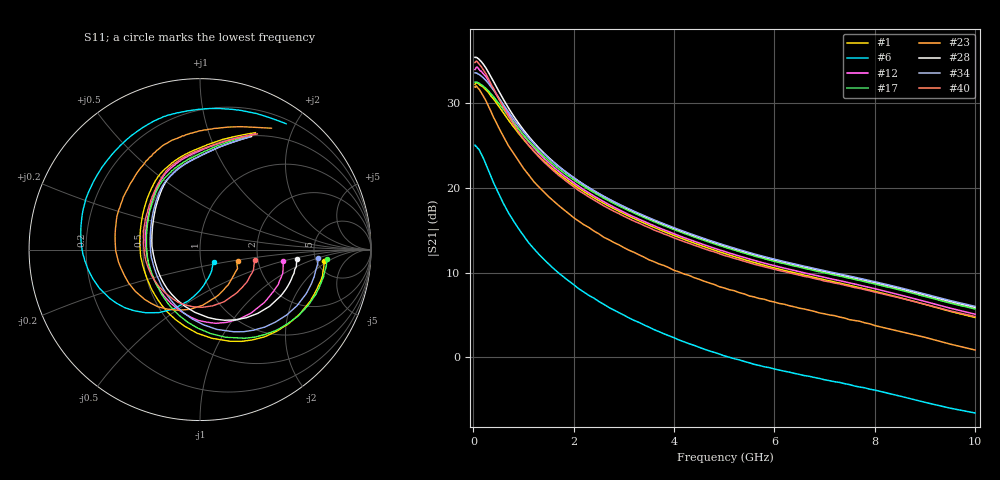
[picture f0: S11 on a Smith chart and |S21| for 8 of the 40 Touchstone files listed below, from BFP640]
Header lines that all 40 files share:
! Infineon Technologies  Discrete & RF Semiconductors
! BFP640
! Common Emitter S-Parameters:  Apr 2013
# GHz  S  MA  R  50
!  f  S11  S21  S12  S22
! GHz  MAG  ANG  MAG  ANG  MAG  ANG  MAG  ANG
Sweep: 30 MHz to 10 GHz
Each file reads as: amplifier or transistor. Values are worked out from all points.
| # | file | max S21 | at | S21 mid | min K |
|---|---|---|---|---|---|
| 1 | BFP640_VCE_1.0V_IC_18mA.s2p | 32.4 dB | 60 MHz | 15.6 dB at 3.5 GHz | 0.04 |
| 2 | BFP640_VCE_1.0V_IC_22mA.s2p | 33.1 dB | 70 MHz | 15.5 dB at 3.5 GHz | 0.05 |
| 3 | BFP640_VCE_1.0V_IC_28mA.s2p | 32.5 dB | 70 MHz | 14.8 dB at 3.5 GHz | 0.11 |
| 4 | BFP640_VCE_1.0V_IC_32mA.s2p | 31.4 dB | 70 MHz | 13.0 dB at 3.5 GHz | 0.45 |
| 5 | BFP640_VCE_1.0V_IC_37mA.s2p | 28.8 dB | 50 MHz | 8.0 dB at 3.5 GHz | 1.00 |
| 6 | BFP640_VCE_1.0V_IC_42mA.s2p | 25.1 dB | 30 MHz | 3.5 dB at 3.5 GHz | 1.51 |
| 7 | BFP640_VCE_1.0V_IC_48mA.s2p | 22.6 dB | 30 MHz | 0.9 dB at 3.5 GHz | 1.62 |
| 8 | BFP640_VCE_1.0V_IC_50mA.s2p | 22.3 dB | 30 MHz | 0.5 dB at 3.5 GHz | 1.62 |
| 9 | BFP640_VCE_1.5V_IC_18mA.s2p | 32.6 dB | 60 MHz | 16.1 dB at 3.5 GHz | -0.07 |
| 10 | BFP640_VCE_1.5V_IC_22mA.s2p | 33.7 dB | 60 MHz | 16.1 dB at 3.5 GHz | 0.00 |
| 11 | BFP640_VCE_1.5V_IC_28mA.s2p | 34.5 dB | 70 MHz | 16.0 dB at 3.5 GHz | 0.06 |
| 12 | BFP640_VCE_1.5V_IC_32mA.s2p | 34.3 dB | 70 MHz | 15.8 dB at 3.5 GHz | 0.08 |
| 13 | BFP640_VCE_1.5V_IC_37mA.s2p | 33.3 dB | 60 MHz | 14.7 dB at 3.5 GHz | 0.29 |
| 14 | BFP640_VCE_1.5V_IC_42mA.s2p | 31.5 dB | 50 MHz | 11.3 dB at 3.5 GHz | 0.77 |
| 15 | BFP640_VCE_1.5V_IC_48mA.s2p | 27.9 dB | 30 MHz | 6.6 dB at 3.5 GHz | 1.29 |
| 16 | BFP640_VCE_1.5V_IC_50mA.s2p | 26.6 dB | 30 MHz | 5.5 dB at 3.5 GHz | 1.42 |
| 17 | BFP640_VCE_2.0V_IC_18mA.s2p | 32.5 dB | 60 MHz | 16.3 dB at 3.5 GHz | -0.14 |
| 18 | BFP640_VCE_2.0V_IC_22mA.s2p | 33.7 dB | 50 MHz | 16.3 dB at 3.5 GHz | -0.03 |
| 19 | BFP640_VCE_2.0V_IC_28mA.s2p | 34.9 dB | 60 MHz | 16.3 dB at 3.5 GHz | -0.16 |
| 20 | BFP640_VCE_2.0V_IC_32mA.s2p | 35.2 dB | 60 MHz | 16.2 dB at 3.5 GHz | 0.08 |
| 21 | BFP640_VCE_2.0V_IC_37mA.s2p | 35.0 dB | 70 MHz | 16.0 dB at 3.5 GHz | 0.13 |
| 22 | BFP640_VCE_2.0V_IC_42mA.s2p | 34.1 dB | 70 MHz | 15.0 dB at 3.5 GHz | 0.29 |
| 23 | BFP640_VCE_2.0V_IC_48mA.s2p | 32.1 dB | 50 MHz | 11.5 dB at 3.5 GHz | 0.82 |
| 24 | BFP640_VCE_2.0V_IC_50mA.s2p | 31.1 dB | 50 MHz | 10.2 dB at 3.5 GHz | 0.96 |
| 25 | BFP640_VCE_2.5V_IC_18mA.s2p | 32.5 dB | 50 MHz | 16.3 dB at 3.5 GHz | -0.33 |
| 26 | BFP640_VCE_2.5V_IC_22mA.s2p | 33.7 dB | 50 MHz | 16.4 dB at 3.5 GHz | 0.07 |
| 27 | BFP640_VCE_2.5V_IC_28mA.s2p | 34.9 dB | 30 MHz | 16.4 dB at 3.5 GHz | -0.10 |
| 28 | BFP640_VCE_2.5V_IC_32mA.s2p | 35.5 dB | 50 MHz | 16.4 dB at 3.5 GHz | 0.06 |
| 29 | BFP640_VCE_2.5V_IC_37mA.s2p | 35.7 dB | 60 MHz | 16.3 dB at 3.5 GHz | 0.03 |
| 30 | BFP640_VCE_2.5V_IC_42mA.s2p | 35.4 dB | 60 MHz | 16.0 dB at 3.5 GHz | 0.07 |
| 31 | BFP640_VCE_2.5V_IC_48mA.s2p | 34.2 dB | 50 MHz | 14.6 dB at 3.5 GHz | 0.42 |
| 32 | BFP640_VCE_2.5V_IC_50mA.s2p | 33.6 dB | 50 MHz | 13.6 dB at 3.5 GHz | 0.59 |
| 33 | BFP640_VCE_3.0V_IC_18mA.s2p | 32.5 dB | 50 MHz | 16.4 dB at 3.5 GHz | -0.01 |
| 34 | BFP640_VCE_3.0V_IC_22mA.s2p | 33.6 dB | 30 MHz | 16.5 dB at 3.5 GHz | 0.06 |
| 35 | BFP640_VCE_3.0V_IC_28mA.s2p | 34.9 dB | 30 MHz | 16.5 dB at 3.5 GHz | -0.03 |
| 36 | BFP640_VCE_3.0V_IC_32mA.s2p | 35.5 dB | 30 MHz | 16.5 dB at 3.5 GHz | -0.02 |
| 37 | BFP640_VCE_3.0V_IC_37mA.s2p | 35.9 dB | 30 MHz | 16.5 dB at 3.5 GHz | -0.25 |
| 38 | BFP640_VCE_3.0V_IC_42mA.s2p | 36.0 dB | 50 MHz | 16.3 dB at 3.5 GHz | 0.13 |
| 39 | BFP640_VCE_3.0V_IC_48mA.s2p | 35.4 dB | 60 MHz | 15.8 dB at 3.5 GHz | 0.15 |
| 40 | BFP640_VCE_3.0V_IC_50mA.s2p | 35.0 dB | 60 MHz | 15.3 dB at 3.5 GHz | 0.30 |

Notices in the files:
BFP640/BFP640_VCE_1.0V_IC_18mA.s2p:
(c) 2013  Infineon Technologies AG, Munich
